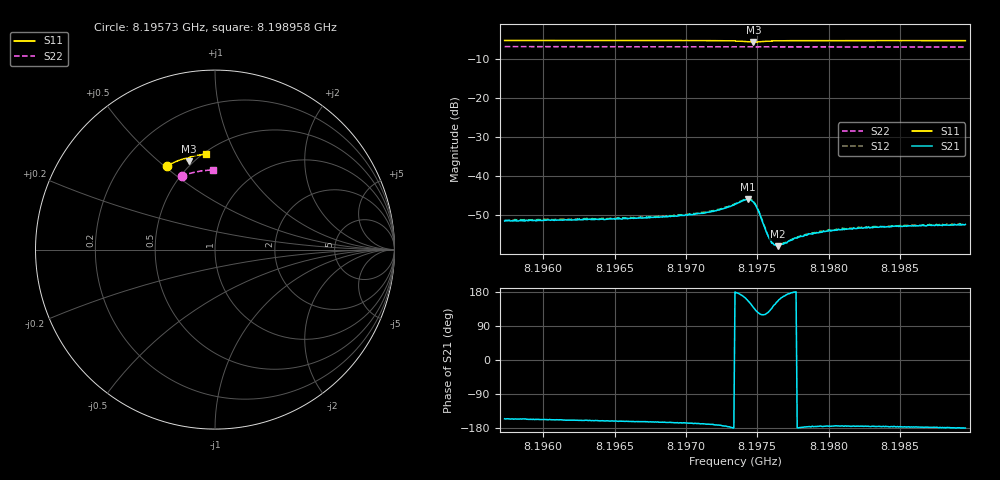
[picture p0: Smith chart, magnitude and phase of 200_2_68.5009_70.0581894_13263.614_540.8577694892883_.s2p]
#  HZ  S  RI  R  50.00
! Rohde & Schwarz Vector Network Analyzer
! Rohde-Schwarz,ZNB20-2Port,1311601062101988,3.16
! Created: UTC 3/20/2024, 5:12:42 PM
! freq[Hz]  re:S11  im:S11  re:S21  im:S21  re:S12  im:S12  re:S22  im:S22
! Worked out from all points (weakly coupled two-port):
!   401 points, 8.19573 GHz to 8.198958 GHz, reference 50 ohm
!   highest |S21| = -45.92 dB at 8.197433 GHz (marker M1); lowest = -57.8 dB at 8.197643 GHz (marker M2)
!   lowest |S11| = -5.8 dB at 8.197473 GHz (marker M3), VSWR 3.10, Z = 23.7 + j31.7 ohm
!   |S11| at or under -10 dB: nowhere
!   |S22| runs from -7.1 to -7.0 dB; largest |S21 - S12| = 0.00027
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8.1957299e9  -0.2648 0.4674  -0.00244 -0.00113  -0.00253 -0.00109  -0.1863 0.4079
8.1962707e9  -0.23 0.4849  -0.00261 -0.000996  -0.00271 -0.00094  -0.1578 0.4188
8.1964967e9  -0.2152 0.4914  -0.00271 -0.000928  -0.00277 -0.000843  -0.146 0.4228
8.1968114e9  -0.1937 0.4997  -0.00288 -0.000807  -0.00302 -0.000718  -0.1289 0.4277
8.1969809e9  -0.1815 0.5037  -0.00307 -0.000785  -0.00314 -0.000642  -0.1196 0.4301
8.1971262e9  -0.1703 0.5069  -0.0033 -0.000684  -0.00343 -0.000579  -0.1116 0.432
8.1972473e9  -0.1596 0.5087  -0.00376 -0.000489  -0.00384 -0.000307  -0.1049 0.4333
8.1973442e9  -0.1492 0.5078  -0.00439 4.49e-05  -0.00446 0.000232  -0.0994 0.4344
8.1974329e9  -0.141 0.4981  -0.00467 0.00194  -0.00469 0.00218  -0.0945 0.435
8.1974571e9  -0.1425 0.4937  -0.00414 0.0027  -0.00415 0.00294  -0.0933 0.4351
8.1974733e9  -0.1452 0.4917  -0.00351 0.0031  -0.00346 0.00326  -0.0925 0.4353
8.1975056e9  -0.1516 0.4922  -0.00212 0.00303  -0.00204 0.00319  -0.0908 0.4356
8.1975621e9  -0.1547 0.5015  -0.00104 0.00168  -0.000956 0.00178  -0.0879 0.4365
8.1975863e9  -0.1534 0.5049  -0.00101 0.00121  -0.000999 0.00129  -0.0865 0.4369
8.1976105e9  -0.1515 0.5075  -0.00109 0.000863  -0.00104 0.000932  -0.0852 0.4371
8.1976428e9  -0.1487 0.5101  -0.00116 0.00055  -0.00118 0.000636  -0.0834 0.4374
8.1976912e9  -0.1444 0.513  -0.00137 0.000269  -0.00139 0.000298  -0.0805 0.4378
8.19778e9  -0.1368 0.5164  -0.00163 -3.47e-05  -0.00166 5.14e-05  -0.0756 0.4387
8.1978849e9  -0.1283 0.5192  -0.00182 -0.000175  -0.00189 -3.96e-05  -0.0696 0.4394
8.1980948e9  -0.1126 0.5231  -0.00207 -0.000231  -0.00217 -0.000131  -0.0579 0.4408
8.1984257e9  -0.0886 0.5275  -0.00225 -0.000136  -0.00231 -7.05e-05  -0.0393 0.4423
8.1989584e9  -0.0505 0.5318  -0.00243 -1.52e-05  -0.00246 8.65e-05  -0.00869 0.443
